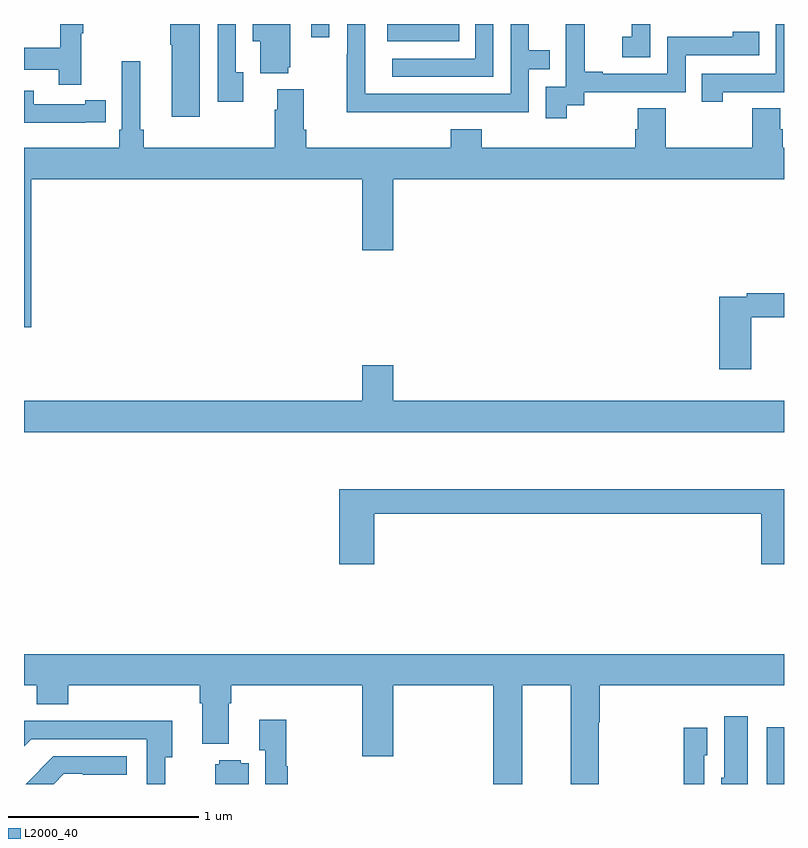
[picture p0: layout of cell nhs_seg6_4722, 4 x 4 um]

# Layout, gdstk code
import gdstk
lib = gdstk.Library(unit=1e-6, precision=1e-09)
def R(c, l, rs):  # rectangles x0, y0, x1, y1
    for r in rs: c.add(gdstk.rectangle(r[:2], r[2:], *l))
def P(c, l, *ps):  # polygons
    for p in ps: c.add(gdstk.Polygon(p, *l))
L2000_40 = (2000, 40)

nhs_seg6_4722 = lib.new_cell('nhs_seg6_4722')
R(nhs_seg6_4722, L2000_40, [(394.91,929.5,395,929.8), (392.912,933.41,393.29,933.5), (392.511,933.429,392.607,933.5)])
P(nhs_seg6_4722, L2000_40, [(392.155,933.246),(392.115,933.246),(392.115,933.5),(392.019,933.5),(392.019,933.09),(392.155,933.09)],
  [(394.296,933.5),(394.198,933.5),(394.198,933.433),(394.149,933.433),(394.149,933.324),(394.296,933.324)],
  [(391.301,933.451),(391.312,933.451),(391.312,933.5),(391.191,933.5),(391.191,933.374),(391,933.374),(391,933.258),(391.183,933.258),(391.183,933.18),(391.301,933.18)],
  [(393.471,933.5),(393.375,933.5),(393.375,933.318),(392.937,933.318),(392.937,933.222),(393.471,933.222)],
  [(394.678,933.141),(395,933.141),(395,933.5),(394.956,933.5),(394.956,933.237),(394.567,933.237),(394.567,933.09),(394.678,933.09)],
  [(393.856,933.073),(393.948,933.073),(393.948,933.141),(394.482,933.141),(394.482,933.336),(394.871,933.336),(394.871,933.459),(394.731,933.459),(394.731,933.432),(394.386,933.432),(394.386,933.237),(394.045,933.237),(394.045,933.25),(393.95,933.25),(393.95,933.5),(393.851,933.5),(393.851,933.401),(393.852,933.401),(393.852,933.171),(393.747,933.171),(393.747,933.003),(393.856,933.003)],
  [(393.161,933.036),(393.657,933.036),(393.657,933.261),(393.767,933.261),(393.767,933.362),(393.657,933.362),(393.657,933.5),(393.561,933.5),(393.561,933.132),(392.796,933.132),(392.796,933.5),(392.7,933.5),(392.7,933.341),(392.698,933.341),(392.698,933.035),(393.161,933.035)],
  [(391.924,933.5),(391.771,933.5),(391.771,933.391),(391.778,933.391),(391.778,933.012),(391.924,933.012)],
  [(392.39,933.273),(392.401,933.273),(392.401,933.5),(392.204,933.5),(392.204,933.41),(392.243,933.41),(392.243,933.242),(392.39,933.242)],
  [(392.78,932.31),(392.944,932.31),(392.944,932.684),(395,932.684),(395,932.848),(394.994,932.848),(394.994,932.946),(394.981,932.946),(394.981,933.056),(394.834,933.056),(394.834,932.848),(394.377,932.848),(394.377,933.056),(394.229,933.056),(394.229,932.946),(394.217,932.946),(394.217,932.848),(393.41,932.848),(393.41,932.947),(393.245,932.947),(393.245,932.848),(392.486,932.848),(392.486,932.944),(392.473,932.944),(392.473,933.157),(392.333,933.157),(392.333,933.05),(392.321,933.05),(392.321,932.848),(391.631,932.848),(391.631,932.944),(391.612,932.944),(391.612,933.304),(391.515,933.304),(391.515,932.944),(391.502,932.944),(391.502,932.848),(391,932.848),(391,931.905),(391.037,931.905),(391.037,932.684),(392.78,932.684)],
  [(391.322,932.982),(391.43,932.982),(391.43,933.098),(391.322,933.098),(391.322,933.078),(391.05,933.078),(391.05,933.15),(391,933.15),(391,932.981),(391.322,932.981)],
  [(394.828,931.956),(395,931.956),(395,932.084),(394.804,932.084),(394.804,932.064),(394.658,932.064),(394.658,931.683),(394.828,931.683)],
  [(395,931.516),(392.944,931.516),(392.944,931.705),(392.78,931.705),(392.78,931.516),(391,931.516),(391,931.352),(395,931.352)],
  [(392.843,930.922),(394.88,930.922),(394.88,930.657),(395,930.657),(395,931.051),(392.66,931.051),(392.66,930.657),(392.843,930.657)],
  [(393.622,930.02),(393.878,930.02),(393.878,929.5),(394.026,929.5),(394.026,929.824),(394.031,929.824),(394.031,930.02),(395,930.02),(395,930.184),(391,930.184),(391,930.02),(391.067,930.02),(391.067,929.921),(391.232,929.921),(391.232,930.02),(391.925,930.02),(391.925,929.924),(391.937,929.924),(391.937,929.711),(392.077,929.711),(392.077,929.924),(392.09,929.924),(392.09,930.02),(392.78,930.02),(392.78,929.646),(392.944,929.646),(392.944,930.02),(393.47,930.02),(393.47,929.5),(393.622,929.5)],
  [(394.81,929.857),(394.685,929.857),(394.685,929.532),(394.67,929.532),(394.67,929.5),(394.81,929.5)],
  [(392.387,929.594),(392.38,929.594),(392.38,929.839),(392.237,929.839),(392.237,929.678),(392.271,929.678),(392.271,929.5),(392.387,929.5)],
  [(391.743,929.642),(391.78,929.642),(391.78,929.834),(391.315,929.834),(391.315,929.832),(391,929.832),(391,929.698),(391.038,929.736),(391.647,929.736),(391.647,929.5),(391.743,929.5)],
  [(394.581,929.652),(394.597,929.652),(394.597,929.797),(394.473,929.797),(394.473,929.5),(394.581,929.5)],
  [(391.209,929.553),(391.309,929.553),(391.309,929.55),(391.54,929.55),(391.54,929.646),(391.154,929.646),(391.008,929.5),(391.156,929.5)],
  [(392.182,929.608),(392.142,929.608),(392.142,929.626),(392.028,929.626),(392.028,929.604),(392.006,929.604),(392.006,929.5),(392.182,929.5)])

lib.write_gds('nhs_seg6_4722.gds')
